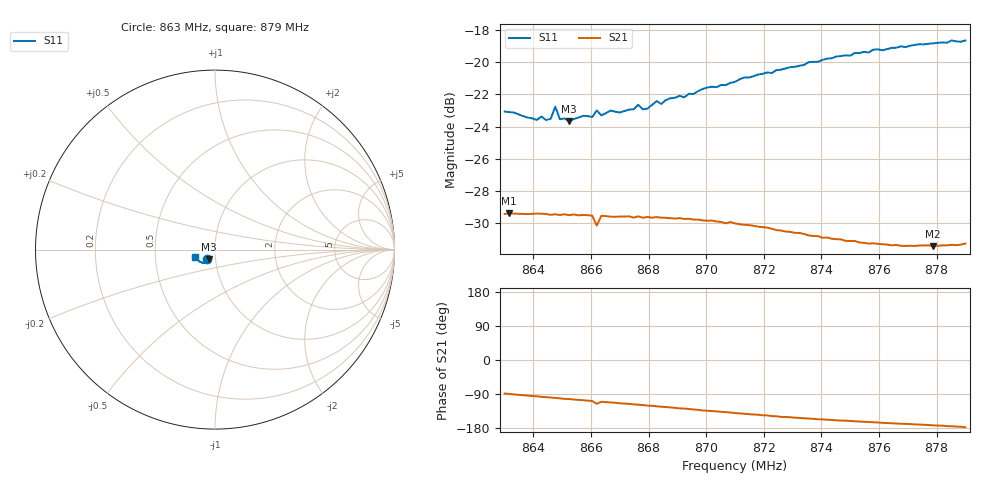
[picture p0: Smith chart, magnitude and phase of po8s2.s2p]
# HZ S RI R 50
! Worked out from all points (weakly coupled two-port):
!   101 points, 863 MHz to 879 MHz, reference 50 ohm
!   highest |S21| = -29.38 dB at 863.16 MHz (marker M1); lowest = -31.4 dB at 877.88 MHz (marker M2)
!   lowest |S11| = -23.7 dB at 865.24 MHz (marker M3), VSWR 1.14, Z = 46.3 - j5.11 ohm
!   |S11| at or under -10 dB: start of sweep to end of sweep
!   S12 and S22 are empty: the file has one direction only
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8.63e8  -0.0447 -0.0543  0.000898 -0.0338  0 0  0 0
8.6316e8  -0.0434 -0.0549  0.0003 -0.0339  0 0  0 0
8.6444e8  -0.0397 -0.0529  -0.00464 -0.0335  0 0  0 0
8.646e8  -0.0385 -0.0546  -0.00528 -0.0332  0 0  0 0
8.6476e8  -0.0469 -0.0557  -0.00605 -0.0332  0 0  0 0
8.6492e8  -0.0378 -0.0548  -0.00653 -0.0329  0 0  0 0
8.6524e8  -0.0359 -0.0549  -0.0076 -0.0327  0 0  0 0
8.6572e8  -0.0363 -0.0577  -0.00927 -0.0323  0 0  0 0
8.6604e8  -0.035 -0.0578  -0.0104 -0.0317  0 0  0 0
8.662e8  -0.0391 -0.059  -0.0134 -0.0281  0 0  0 0
8.6636e8  -0.0364 -0.0579  -0.0115 -0.0313  0 0  0 0
8.6668e8  -0.036 -0.061  -0.0124 -0.0308  0 0  0 0
8.6748e8  -0.0349 -0.0624  -0.015 -0.0293  0 0  0 0
8.6764e8  -0.0366 -0.0641  -0.0155 -0.0294  0 0  0 0
8.6796e8  -0.0346 -0.0629  -0.0167 -0.0286  0 0  0 0
8.6828e8  -0.0366 -0.0663  -0.0176 -0.028  0 0  0 0
8.6844e8  -0.0366 -0.0646  -0.0181 -0.0275  0 0  0 0
8.71e8  -0.0477 -0.0727  -0.0242 -0.0203  0 0  0 0
8.7372e8  -0.0673 -0.0743  -0.0262 -0.0121  0 0  0 0
8.7644e8  -0.0921 -0.0616  -0.0263 -0.00608  0 0  0 0
8.7788e8  -0.1028 -0.0503  -0.0266 -0.00353  0 0  0 0
8.79e8  -0.1099 -0.0396  -0.0274 -0.00118  0 0  0 0
